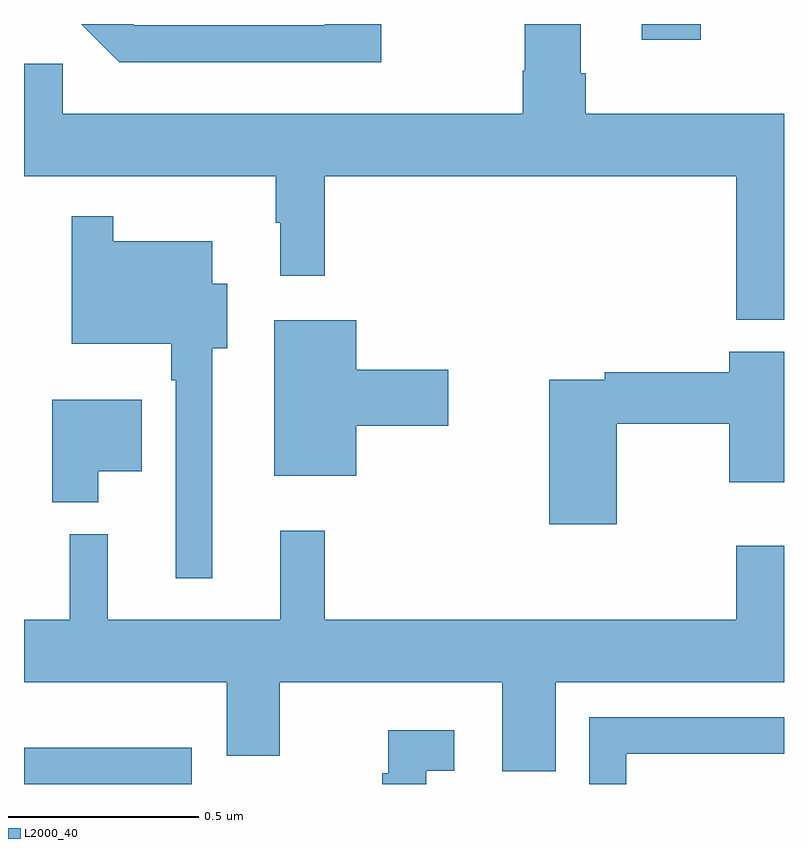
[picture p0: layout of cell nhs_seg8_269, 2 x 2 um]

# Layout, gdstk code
import gdstk
lib = gdstk.Library(unit=1e-6, precision=1e-09)
def R(c, l, rs):  # rectangles x0, y0, x1, y1
    for r in rs: c.add(gdstk.rectangle(r[:2], r[2:], *l))
def P(c, l, *ps):  # polygons
    for p in ps: c.add(gdstk.Polygon(p, *l))
L2000_40 = (2000, 40)

nhs_seg8_269 = lib.new_cell('nhs_seg8_269')
R(nhs_seg8_269, L2000_40, [(114,1114.9,114.442,1114.996), (115.625,1116.858,115.781,1116.9)])
P(nhs_seg8_269, L2000_40, [(116,1116.664),(115.478,1116.664),(115.478,1116.77),(115.465,1116.77),(115.465,1116.9),(115.318,1116.9),(115.318,1116.777),(115.313,1116.777),(115.313,1116.664),(114.102,1116.664),(114.102,1116.796),(114,1116.796),(114,1116.5),(114.663,1116.5),(114.663,1116.377),(114.674,1116.377),(114.674,1116.237),(114.791,1116.237),(114.791,1116.5),(115.874,1116.5),(115.874,1116.122),(116,1116.122)],
  [(114.94,1116.9),(114.791,1116.9),(114.791,1116.897),(114.291,1116.897),(114.288,1116.9),(114.15,1116.9),(114.25,1116.8),(114.94,1116.8)],
  [(114.496,1116.047),(114.535,1116.047),(114.535,1116.217),(114.496,1116.217),(114.496,1116.328),(114.235,1116.328),(114.235,1116.394),(114.126,1116.394),(114.126,1116.059),(114.387,1116.059),(114.387,1115.963),(114.399,1115.963),(114.399,1115.442),(114.496,1115.442)],
  [(114.874,1115.843),(115.117,1115.843),(115.117,1115.99),(114.874,1115.99),(114.874,1116.121),(114.659,1116.121),(114.659,1115.711),(114.874,1115.711)],
  [(115.56,1115.848),(115.856,1115.848),(115.856,1115.694),(116,1115.694),(116,1116.037),(115.856,1116.037),(115.856,1115.984),(115.528,1115.984),(115.528,1115.964),(115.382,1115.964),(115.382,1115.583),(115.56,1115.583)],
  [(114.196,1115.723),(114.31,1115.723),(114.31,1115.911),(114.074,1115.911),(114.074,1115.642),(114.196,1115.642)],
  [(115.399,1115.168),(116,1115.168),(116,1115.527),(115.874,1115.527),(115.874,1115.332),(114.791,1115.332),(114.791,1115.566),(114.674,1115.566),(114.674,1115.332),(114.221,1115.332),(114.221,1115.557),(114.121,1115.557),(114.121,1115.332),(114,1115.332),(114,1115.168),(114.533,1115.168),(114.533,1114.974),(114.673,1114.974),(114.673,1115.168),(115.259,1115.168),(115.259,1114.933),(115.399,1114.933)],
  [(115.585,1114.98),(116,1114.98),(116,1115.076),(115.488,1115.076),(115.488,1114.9),(115.585,1114.9)],
  [(115.059,1114.935),(115.132,1114.935),(115.132,1115.041),(114.958,1115.041),(114.958,1114.928),(114.943,1114.928),(114.943,1114.9),(115.059,1114.9)])

lib.write_gds('nhs_seg8_269.gds')
